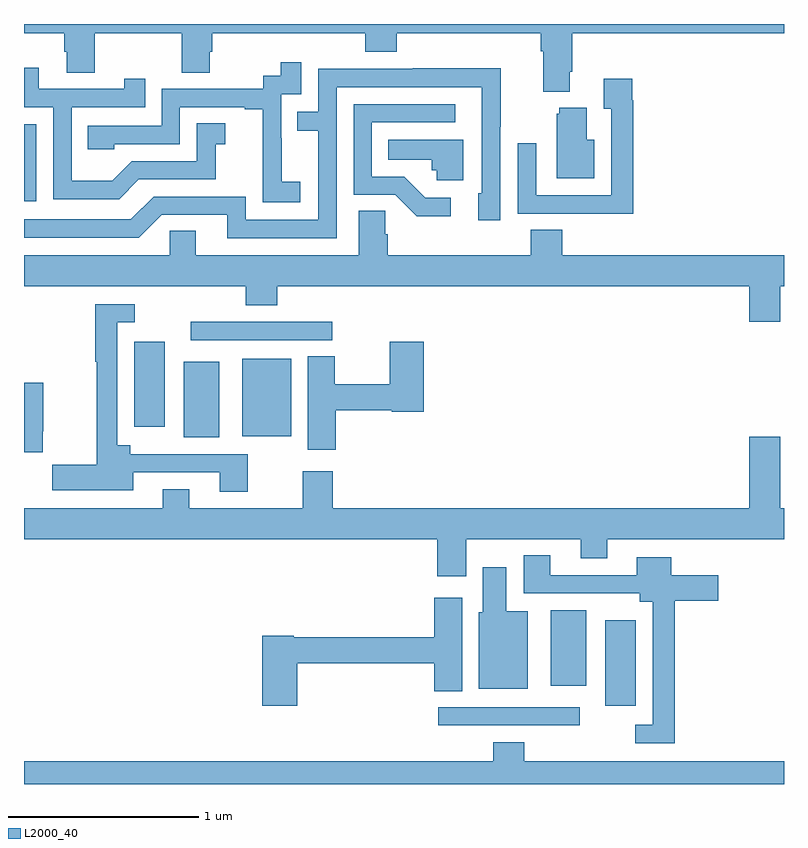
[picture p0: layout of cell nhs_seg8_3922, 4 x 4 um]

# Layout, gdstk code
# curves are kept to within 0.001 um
import gdstk
lib = gdstk.Library(unit=1e-6, precision=1e-09)
def R(c, l, rs):  # rectangles x0, y0, x1, y1
    for r in rs: c.add(gdstk.rectangle(r[:2], r[2:], *l))
def P(c, l, *ps):  # polygons
    for p in ps: c.add(gdstk.Polygon(p, *l))
L2000_40 = (2000, 40)

nhs_seg8_3922 = lib.new_cell('nhs_seg8_3922')
R(nhs_seg8_3922, L2000_40, [(355.179,1094.208,355.924,1094.304), (356.06,1094.313,356.221,1094.761), (355.772,1094.417,355.96,1094.815), (353.84,1095.725,354.028,1096.123), (354.149,1095.731,354.406,1096.138), (353.579,1095.78,353.74,1096.228), (353.877,1096.236,354.622,1096.332), (353,1096.968,353.064,1097.373)])
P(nhs_seg8_3922, L2000_40, [(353,1097.852),(353.213,1097.852),(353.213,1097.754),(353.225,1097.754),(353.225,1097.644),(353.373,1097.644),(353.373,1097.852),(353.83,1097.852),(353.83,1097.644),(353.977,1097.644),(353.977,1097.754),(353.99,1097.754),(353.99,1097.852),(354.797,1097.852),(354.797,1097.753),(354.962,1097.753),(354.962,1097.852),(355.721,1097.852),(355.721,1097.756),(355.733,1097.756),(355.733,1097.543),(355.873,1097.543),(355.873,1097.65),(355.886,1097.65),(355.886,1097.852),(357,1097.852),(357,1097.9),(353,1097.9)],
  [(354.454,1097.071),(354.356,1097.071),(354.356,1097.3),(354.354,1097.3),(354.354,1097.529),(354.459,1097.529),(354.459,1097.698),(354.351,1097.698),(354.351,1097.628),(354.258,1097.628),(354.258,1097.559),(353.724,1097.559),(353.724,1097.364),(353.335,1097.364),(353.335,1097.241),(353.475,1097.241),(353.475,1097.268),(353.82,1097.268),(353.82,1097.463),(354.161,1097.463),(354.161,1097.451),(354.257,1097.451),(354.257,1097.167),(354.256,1097.167),(354.256,1096.961),(354.454,1096.961)],
  [(353.605,1097.082),(354.009,1097.082),(354.009,1097.267),(354.058,1097.267),(354.058,1097.377),(353.91,1097.377),(353.91,1097.178),(353.568,1097.178),(353.464,1097.074),(353.25,1097.074),(353.25,1097.463),(353.639,1097.463),(353.639,1097.611),(353.528,1097.611),(353.528,1097.559),(353.077,1097.559),(353.077,1097.671),(353,1097.671),(353,1097.463),(353.154,1097.463),(353.154,1096.977),(353.5,1096.977)],
  [(354.645,1097.568),(355.409,1097.568),(355.41,1097.01),(355.391,1097.01),(355.391,1096.866),(355.506,1096.866),(355.506,1097.359),(355.509,1097.359),(355.509,1097.666),(355.045,1097.666),(355.045,1097.664),(354.549,1097.664),(354.549,1097.439),(354.439,1097.439),(354.439,1097.338),(354.549,1097.338),(354.549,1096.869),(354.168,1096.869),(354.168,1096.992),(353.682,1096.992),(353.562,1096.872),(353,1096.872),(353,1096.776),(353.604,1096.776),(353.724,1096.896),(354.071,1096.896),(354.071,1096.773),(354.645,1096.773)],
  [(356.207,1097.498),(356.2,1097.498),(356.2,1097.611),(356.051,1097.611),(356.051,1097.455),(356.091,1097.455),(356.091,1096.998),(355.695,1096.998),(355.695,1097.272),(355.599,1097.272),(355.599,1096.902),(355.915,1096.902),(355.915,1096.901),(356.207,1096.901)],
  [(355.246,1096.986),(355.111,1096.986),(355,1097.097),(354.831,1097.097),(354.831,1097.382),(355.27,1097.382),(355.27,1097.478),(354.735,1097.478),(354.735,1097.001),(354.954,1097.001),(355.067,1096.889),(355.246,1096.889)],
  [(356.002,1097.29),(355.963,1097.29),(355.963,1097.458),(355.817,1097.458),(355.817,1097.427),(355.805,1097.427),(355.805,1097.087),(356.002,1097.087)],
  [(355.312,1097.29),(354.916,1097.29),(354.916,1097.186),(355.147,1097.186),(355.147,1097.13),(355.173,1097.13),(355.173,1097.078),(355.312,1097.078)],
  [(356.98,1096.52),(357,1096.52),(357,1096.684),(355.832,1096.684),(355.832,1096.817),(355.667,1096.817),(355.667,1096.684),(354.914,1096.684),(354.914,1096.793),(354.9,1096.793),(354.9,1096.916),(354.761,1096.916),(354.761,1096.684),(353.905,1096.684),(353.905,1096.811),(353.766,1096.811),(353.766,1096.684),(353,1096.684),(353,1096.52),(354.167,1096.52),(354.167,1096.421),(354.332,1096.421),(354.332,1096.52),(356.816,1096.52),(356.816,1096.332),(356.98,1096.332)],
  [(354.177,1095.636),(353.56,1095.636),(353.56,1095.682),(353.49,1095.682),(353.49,1096.329),(353.584,1096.329),(353.584,1096.425),(353.374,1096.425),(353.374,1096.122),(353.382,1096.122),(353.382,1095.58),(353.148,1095.58),(353.148,1095.446),(353.575,1095.446),(353.575,1095.54),(354.029,1095.54),(354.029,1095.438),(354.177,1095.438)],
  [(354.641,1095.868),(354.936,1095.868),(354.936,1095.86),(355.103,1095.86),(355.103,1096.228),(354.925,1096.228),(354.925,1096.004),(354.636,1096.004),(354.636,1096.151),(354.494,1096.151),(354.494,1095.66),(354.641,1095.66)],
  [(353.099,1095.757),(353.1,1095.757),(353.1,1096.012),(353,1096.012),(353,1095.645),(353.099,1095.645)],
  [(355.327,1095.188),(355.931,1095.188),(355.931,1095.089),(356.071,1095.089),(356.071,1095.188),(357,1095.188),(357,1095.352),(356.98,1095.352),(356.98,1095.727),(356.816,1095.727),(356.816,1095.352),(354.626,1095.352),(354.626,1095.547),(354.466,1095.547),(354.466,1095.352),(353.869,1095.352),(353.869,1095.451),(353.729,1095.451),(353.729,1095.352),(353,1095.352),(353,1095.188),(355.175,1095.188),(355.175,1094.994),(355.327,1094.994)],
  [(356.426,1094.864),(356.653,1094.864),(356.653,1094.998),(356.407,1094.998),(356.407,1095.094),(356.225,1095.094),(356.225,1095),(355.771,1095),(355.771,1095.103),(355.631,1095.103),(355.631,1094.904),(356.24,1094.904),(356.24,1094.858),(356.31,1094.858),(356.31,1094.211),(356.217,1094.211),(356.217,1094.115),(356.426,1094.115)],
  [(355.651,1094.809),(355.537,1094.809),(355.537,1095.04),(355.415,1095.04),(355.415,1094.805),(355.394,1094.805),(355.394,1094.402),(355.651,1094.402)],
  [(354.437,1094.536),(355.16,1094.536),(355.16,1094.389),(355.306,1094.389),(355.306,1094.881),(355.16,1094.881),(355.16,1094.672),(354.42,1094.672),(354.42,1094.68),(354.254,1094.68),(354.254,1094.313),(354.437,1094.313)],
  [(357,1094.02),(355.634,1094.02),(355.634,1094.119),(355.469,1094.119),(355.469,1094.02),(353,1094.02),(353,1093.9),(357,1093.9)])

lib.write_gds('nhs_seg8_3922.gds')
